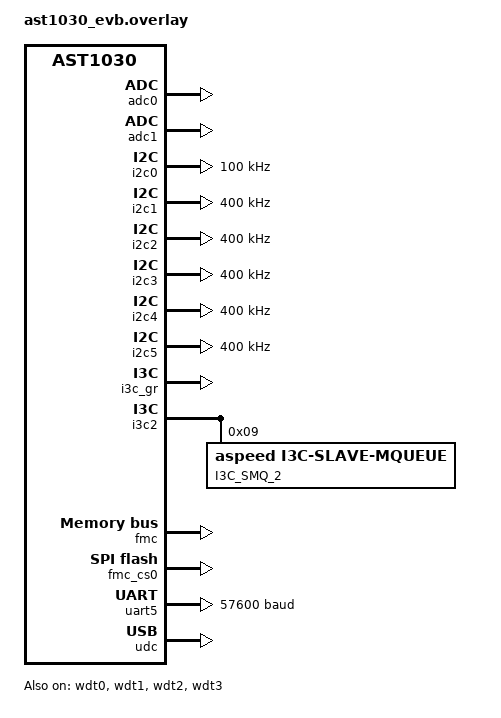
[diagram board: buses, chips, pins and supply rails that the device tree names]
&adc0 {
	status = "okay";
	pinctrl-0 = <&pinctrl_adc0_default 
							 &pinctrl_adc1_default
				 			 &pinctrl_adc2_default 
							 &pinctrl_adc3_default 
							 &pinctrl_adc4_default 
							 &pinctrl_adc5_default 
							 &pinctrl_adc6_default 
				 			 &pinctrl_adc7_default>;
};

&adc1 {
	status = "okay";
	pinctrl-0 = <&pinctrl_adc8_default 
							 &pinctrl_adc9_default 
							 &pinctrl_adc10_default
				 			 &pinctrl_adc11_default 
				 			 &pinctrl_adc15_default>;
};

&gpio0_a_d {
	aspeed,persist-maps = <0xBEF00000>;
};

&gpio0_e_h {
	aspeed,persist-maps = <0x00000802>;
};

&gpio0_m_p {
	aspeed,persist-maps = <0xC001B000>;
};

&gpio0_q_t {
	aspeed,persist-maps = <0x0000001F>;
};

&i2c0 {
	pinctrl-0 = <&pinctrl_i2c0_default>;
	status = "okay";
	clock-frequency = <I2C_BITRATE_STANDARD>;
};

&i2c1 {
	pinctrl-0 = <&pinctrl_i2c1_default>;
	status = "okay";
	clock-frequency = <I2C_BITRATE_FAST>;
};

&i2c2 {
	pinctrl-0 = <&pinctrl_i2c2_default>;
	status = "okay";
	clock-frequency = <I2C_BITRATE_FAST>;
};

&i2c3 {
	pinctrl-0 = <&pinctrl_i2c3_default>;
	status = "okay";
	clock-frequency = <I2C_BITRATE_FAST>;
};

&i2c4 {
	pinctrl-0 = <&pinctrl_i2c4_default>;
	status = "okay";
	clock-frequency = <I2C_BITRATE_FAST>;
};

&i2c5 {
	pinctrl-0 = <&pinctrl_i2c5_default>;
	status = "okay";
	clock-frequency = <I2C_BITRATE_FAST>;
};

&i3c_gr {
  status = "okay";
  pull-up-resistor-ohm = <2000>, <2000>, <2000>, <2000>, <2000>, <2000>;
};

&i3c2 {
	status = "okay";
	assigned-address = <0x9>;
	i3c-scl-hz = <8000000>;
	pinctrl-0 = <&pinctrl_hvi3c2_default>;
	secondary;
	ibi-append-pec;
	i3c2_smq: i3c-slave-mqueue@9 {
		compatible = "aspeed,i3c-slave-mqueue";
		reg = <0x9>;
		msg-size = <256>;
		num-of-msgs = <4>;
		mandatory-data-byte = <0x0f>;
		label = "I3C_SMQ_2";
		status = "okay";
	};
};

&fmc {
	status = "okay";
};

&fmc_cs0 {
	status = "okay";
	spi-max-buswidth = <4>;
	spi-max-frequency = <50000000>;

	partitions {
		compatible = "fixed-partitions";
		#address-cells = <1>;
		#size-cells = <1>;
		boot_partition: partition@0 {
			label = "image-0";
			reg = <0x0 0x100000>;
		};
		dfu_partition: partition@1 {
			label = "image-1";
			reg = <0x0 0x100000>;
		};
	};
};

&uart5 {
	current-speed = <57600>;
};

&wdt0 {
	status = "okay";
};

&wdt1 {
	status = "okay";
};

&wdt2 {
	status = "okay";
};

&wdt3 {
	status = "okay";
};

&sram0 {
	reg = <0 DT_SIZE_K(608)>, <0x98000 DT_SIZE_K(160)>;
};

&udc {
	status = "okay";
};
